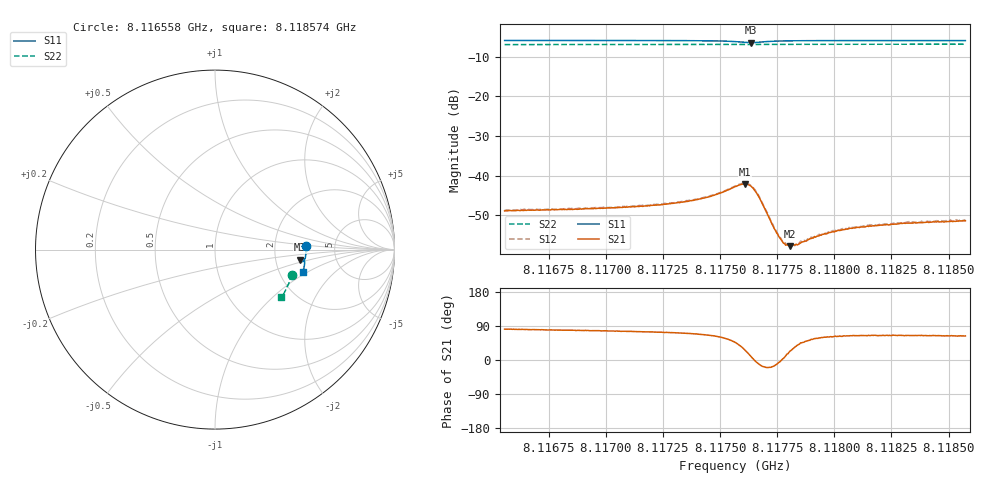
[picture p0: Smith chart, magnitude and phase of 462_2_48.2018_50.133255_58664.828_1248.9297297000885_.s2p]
#  HZ  S  RI  R  50.00
! Rohde & Schwarz Vector Network Analyzer
! Rohde-Schwarz,ZNB20-2Port,1311601062101988,3.16
! Created: UTC 3/20/2024, 11:56:47 AM
! freq[Hz]  re:S11  im:S11  re:S21  im:S21  re:S12  im:S12  re:S22  im:S22
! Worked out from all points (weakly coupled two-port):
!   401 points, 8.116558 GHz to 8.118574 GHz, reference 50 ohm
!   highest |S21| = -42.06 dB at 8.117611 GHz (marker M1); lowest = -57.8 dB at 8.117807 GHz (marker M2)
!   lowest |S11| = -6.4 dB at 8.117636 GHz (marker M3), VSWR 2.82, Z = 138 - j19.8 ohm
!   |S11| at or under -10 dB: nowhere
!   |S22| runs from -6.9 to -6.8 dB; largest |S21 - S12| = 0.00026
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8.1165576e9  0.5074 0.0176  0.000538 0.00356  0.000619 0.00364  0.4283 -0.139
8.1168953e9  0.507 -0.00821  0.000798 0.00371  0.000859 0.0038  0.4212 -0.1613
8.1172329e9  0.5049 -0.0353  0.00123 0.00411  0.00127 0.00417  0.4133 -0.1836
8.1174093e9  0.5014 -0.0516  0.00192 0.00471  0.002 0.00477  0.4083 -0.195
8.11749e9  0.4972 -0.0602  0.00278 0.0052  0.00286 0.00523  0.4058 -0.2002
8.1175655e9  0.4868 -0.0677  0.005 0.00528  0.00518 0.00532  0.4032 -0.205
8.1176109e9  0.4752 -0.064  0.00713 0.00338  0.0073 0.0034  0.4015 -0.2075
8.1176361e9  0.4729 -0.0556  0.00728 0.0011  0.0074 0.00113  0.4008 -0.2084
8.1176512e9  0.4749 -0.0506  0.00656 -9.63e-05  0.00675 -0.000164  0.4005 -0.2093
8.1176663e9  0.4788 -0.0473  0.00557 -0.000919  0.00574 -0.000933  0.4004 -0.21
8.1177369e9  0.4945 -0.0516  0.00209 -0.00059  0.00212 -0.000603  0.3989 -0.2146
8.1177671e9  0.4971 -0.0559  0.00156 -4.48e-05  0.00162 -2.41e-05  0.3981 -0.2167
8.1177873e9  0.4981 -0.0586  0.00131 0.000254  0.00138 0.000243  0.3974 -0.218
8.1178075e9  0.4987 -0.0611  0.00118 0.000527  0.00124 0.000521  0.3969 -0.2193
8.1178327e9  0.4992 -0.0643  0.0011 0.000811  0.00115 0.000765  0.3962 -0.2209
8.1179032e9  0.4995 -0.0716  0.000955 0.00133  0.000975 0.00134  0.394 -0.2253
8.1179839e9  0.4991 -0.0792  0.000915 0.0017  0.000976 0.00174  0.3912 -0.2306
8.1180746e9  0.4981 -0.087  0.000955 0.00196  0.000963 0.00205  0.3882 -0.2361
8.1181653e9  0.4969 -0.0945  0.000971 0.00212  0.00101 0.00219  0.385 -0.2417
8.1182409e9  0.4957 -0.1004  0.00101 0.00219  0.0011 0.00223  0.3823 -0.2464
8.1183215e9  0.4944 -0.1065  0.00107 0.00229  0.00111 0.00236  0.3795 -0.2512
8.1185735e9  0.4898 -0.1254  0.00121 0.00242  0.0012 0.00245  0.37 -0.2662
